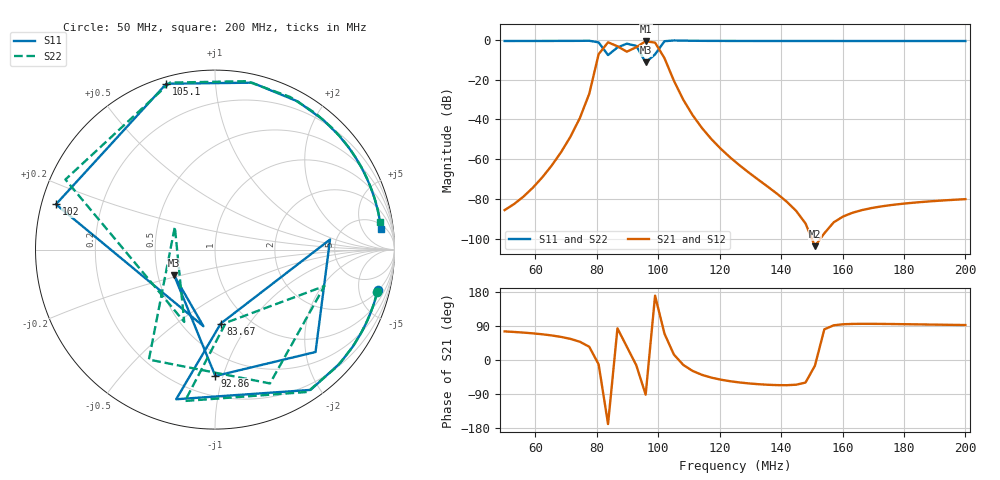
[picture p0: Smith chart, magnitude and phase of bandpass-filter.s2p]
! Generated by EMerge - 2-port S-parameters
! File generated: 2026-06-20 12:59
# GHz S RI R 50
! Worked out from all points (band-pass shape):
!   50 points, 50 MHz to 200 MHz, reference 50 ohm
!   highest |S21| = -0.71 dB at 95.92 MHz (marker M1); lowest = -103.7 dB at 151 MHz (marker M2)
!   |S21| within 3 dB of the highest: 82.41 MHz to 87.25 MHz (4.841 MHz wide, 5.71 % of centre); 92.86 MHz to 99.88 MHz (7.026 MHz wide, 7.29 % of centre)
!   lowest |S11| = -11.4 dB at 95.92 MHz (marker M3), VSWR 1.74, Z = 30.4 - j9.4 ohm
!   |S11| at or under -10 dB: 95.41 MHz to 96.96 MHz (1.556 MHz wide, 1.62 % of centre)
!   |S22| runs from -11.8 to -0.3 dB; largest |S21 - S12| = 2e-05
!   S11 on the Smith chart (normalised r, x): 50 MHz: 2.13, -7.56; 83.67 MHz: 0.75, -0.74; 92.86 MHz: 0.34, -0.94; 102 MHz: 0.04, +0.14; 105.1 MHz: 0.03, +0.75; 200 MHz: 7, +12
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0.05  0.9066 -0.2259  1.32e-05 5.11e-05  1.32e-05 5.11e-05  0.9036 -0.2374
0.05612245  0.892 -0.2797  3.49e-05 0.000109  3.49e-05 0.000109  0.8873 -0.2943
0.0622449  0.8671 -0.3517  0.000132 0.000324  0.000132 0.000324  0.8595 -0.3698
0.07142857  0.7748 -0.5304  0.00207 0.00304  0.00207 0.00304  0.7592 -0.5527
0.07755102  0.5326 -0.7816  0.036 0.0252  0.036 0.0252  0.5156 -0.7931
0.08061224  -0.2161 -0.8338  0.4275 -0.0879  0.4275 -0.0879  -0.167 -0.8433
0.08367347  0.032 -0.4121  -0.8496 -0.164  -0.8496 -0.164  0.0602 -0.4078
0.08673469  0.641 0.0563  0.077 0.6829  0.077 0.6829  0.6095 -0.2032
0.08979592  0.5601 -0.5706  0.4126 0.2881  0.4126 0.2881  0.3063 -0.7456
0.09285714  0.00171 -0.7043  0.6335 -0.1551  0.6335 -0.155  -0.3683 -0.6128
0.09591837  -0.2277 -0.1437  -0.0211 -0.9209  -0.021 -0.9209  -0.2238 0.1269
0.09897959  -0.0645 -0.4269  -0.8358 0.1504  -0.8358 0.1504  -0.1714 -0.403
0.1020408  -0.8862 0.2522  0.1216 0.3244  0.1216 0.3244  -0.8333 0.3905
0.105102  -0.271 0.924  0.091 0.0234  0.091 0.0234  -0.2509 0.9303
0.1081633  0.2066 0.9301  0.0304 -0.00702  0.0304 -0.00702  0.1772 0.9384
0.1112245  0.4606 0.8258  0.0111 -0.00616  0.0111 -0.00616  0.419 0.8504
0.1173469  0.6907 0.6358  0.00219 -0.00231  0.00219 -0.00231  0.6535 0.677
0.1265306  0.8144 0.4599  0.000357 -0.000601  0.000357 -0.000601  0.7887 0.5056
0.1418367  0.8811 0.308  3.42e-05 -7.86e-05  3.41e-05 -7.86e-05  0.8656 0.3521
0.1510204  0.8977 0.254  6.32e-06 -1.7e-06  6.29e-06 -1.7e-06  0.8855 0.2969
0.1755102  0.9177 0.165  -6.08e-06 6.99e-05  -6.11e-06 6.99e-05  0.9101 0.2062
0.2  0.9254 0.1122  -3.87e-06 9.93e-05  -3.9e-06 9.93e-05  0.9201 0.1535
